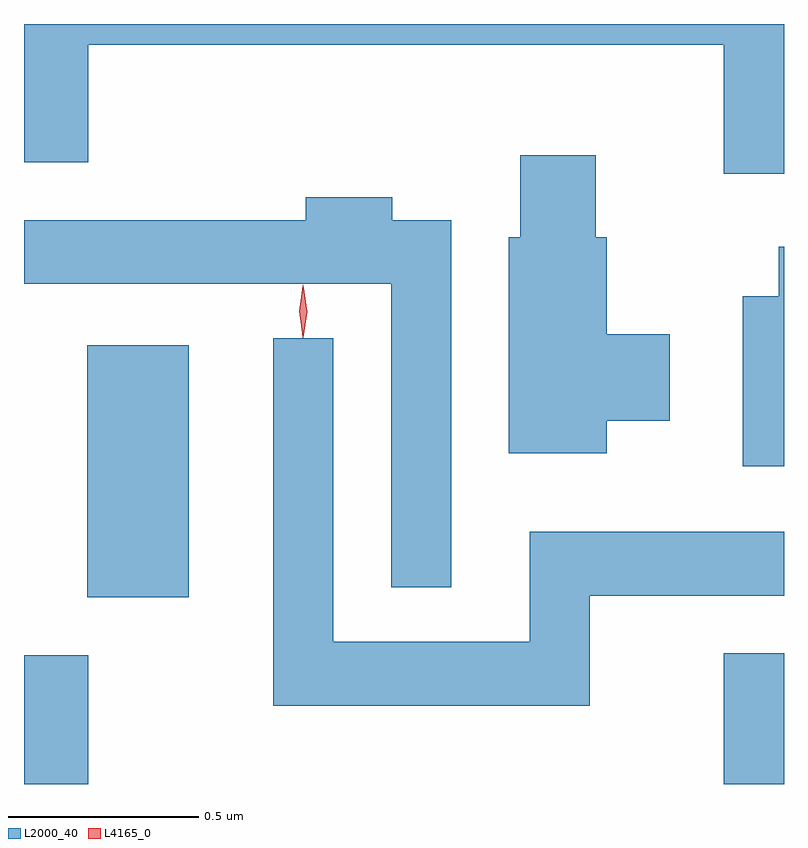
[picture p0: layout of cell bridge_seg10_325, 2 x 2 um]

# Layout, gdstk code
import gdstk
lib = gdstk.Library(unit=1e-6, precision=1e-09)
def R(c, l, rs):  # rectangles x0, y0, x1, y1
    for r in rs: c.add(gdstk.rectangle(r[:2], r[2:], *l))
def P(c, l, *ps):  # polygons
    for p in ps: c.add(gdstk.Polygon(p, *l))
L2000_40 = (2000, 40)
L4165_0 = (4165, 0)

bridge_seg10_325 = lib.new_cell('bridge_seg10_325')
R(bridge_seg10_325, L2000_40, [(1401.69,2167.47,1401.859,2167.809), (1403.531,2167.47,1403.69,2167.814), (1401.856,2167.961,1402.124,2168.624)])
P(bridge_seg10_325, L2000_40, [(1403.69,2169.47),(1401.69,2169.47),(1401.69,2169.106),(1401.859,2169.106),(1401.859,2169.416),(1403.531,2169.416),(1403.531,2169.076),(1403.69,2169.076)],
  [(1403.224,2168.426),(1403.389,2168.426),(1403.389,2168.654),(1403.224,2168.654),(1403.224,2168.909),(1403.194,2168.909),(1403.194,2169.124),(1402.996,2169.124),(1402.996,2168.909),(1402.966,2168.909),(1402.966,2168.341),(1403.224,2168.341)],
  [(1402.814,2168.954),(1402.659,2168.954),(1402.659,2169.014),(1402.431,2169.014),(1402.431,2168.954),(1401.69,2168.954),(1401.69,2168.786),(1402.656,2168.786),(1402.656,2167.988),(1402.814,2167.988)],
  [(1403.69,2168.884),(1403.676,2168.884),(1403.676,2168.754),(1403.581,2168.754),(1403.581,2168.306),(1403.69,2168.306)],
  [(1403.179,2167.966),(1403.69,2167.966),(1403.69,2168.134),(1403.021,2168.134),(1403.021,2167.844),(1402.504,2167.844),(1402.504,2168.643),(1402.346,2168.643),(1402.346,2167.676),(1403.179,2167.676)])
P(bridge_seg10_325, L4165_0, [(1402.424,2168.644),(1402.415,2168.713),(1402.424,2168.782),(1402.425,2168.783),(1402.425,2168.782),(1402.435,2168.713),(1402.425,2168.644),(1402.425,2168.644)],
  [(1402.424,2168.647),(1402.423,2168.648),(1402.414,2168.714),(1402.423,2168.78),(1402.424,2168.78),(1402.424,2168.78),(1402.434,2168.714),(1402.424,2168.648)])

lib.write_gds('bridge_seg10_325.gds')
